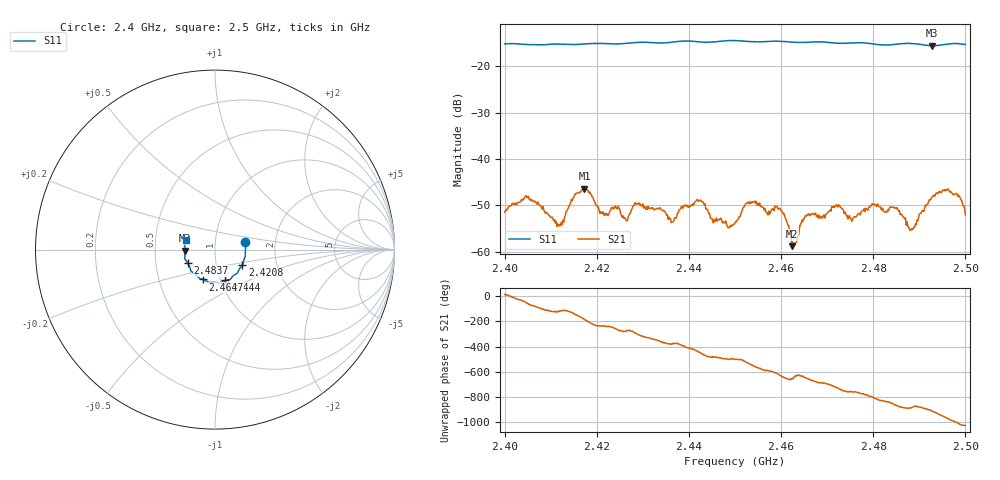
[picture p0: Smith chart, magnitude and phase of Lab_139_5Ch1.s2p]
# Hz S RI R
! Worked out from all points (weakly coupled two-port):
!   601 points, 2.4 GHz to 2.5 GHz, reference 50 ohm
!   highest |S21| = -46.36 dB at 2.4173 GHz (marker M1); lowest = -58.8 dB at 2.4623 GHz (marker M2)
!   lowest |S11| = -15.6 dB at 2.4928 GHz (marker M3), VSWR 1.40, Z = 35.8 - j0.382 ohm
!   |S11| at or under -10 dB: start of sweep to end of sweep
!   S12 and S22 are empty: the file has one direction only
!   S11 on the Smith chart (normalised r, x): 2.4 GHz: 1.40, +0.12; 2.4208 GHz: 1.33, -0.24; 2.444 GHz: 1.06, -0.37; 2.4647 GHz: 0.83, -0.29; 2.4837 GHz: 0.73, -0.11; 2.5 GHz: 0.72, +0.08
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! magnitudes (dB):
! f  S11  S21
! 2.4 GHz  -15.2  -51.4
! 2.4048 GHz  -15.4  -48.3
! 2.4118 GHz  -15.3  -54.4
! 2.4167 GHz  -15.3  -46.8
! 2.4173 GHz  -15.2  -46.4
! 2.4208 GHz  -15.1  -51.3
! 2.4333 GHz  -15.0  -50.7
! 2.4363 GHz  -14.9  -53.6
! 2.442 GHz  -14.8  -48.9
! 2.444 GHz  -14.9  -50.8
! 2.45 GHz  -14.5  -53.7
! 2.4527 GHz  -14.7  -49.5
! 2.4592 GHz  -14.6  -50.2
! 2.4623 GHz  -14.8  -58.8
! 2.4647 GHz  -14.9  -53.5
! 2.4667 GHz  -14.8  -51.8
! 2.4833 GHz  -15.5  -51.1
! 2.4837 GHz  -15.4  -50.3
! 2.4885 GHz  -15.1  -55.0
! 2.4928 GHz  -15.6  -48.1
! 2.4963 GHz  -15.2  -46.7
! 2.5 GHz  -15.3  -52.0
